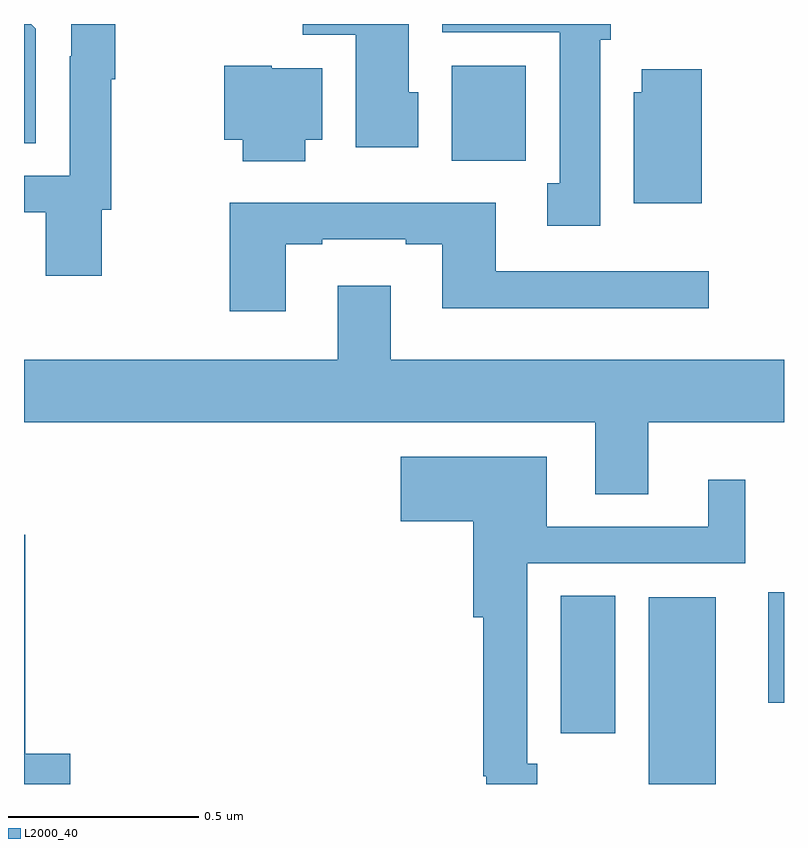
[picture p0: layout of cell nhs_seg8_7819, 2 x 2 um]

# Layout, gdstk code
import gdstk
lib = gdstk.Library(unit=1e-6, precision=1e-09)
def R(c, l, rs):  # rectangles x0, y0, x1, y1
    for r in rs: c.add(gdstk.rectangle(r[:2], r[2:], *l))
def P(c, l, *ps):  # polygons
    for p in ps: c.add(gdstk.Polygon(p, *l))
L2000_40 = (2000, 40)

nhs_seg8_7819 = lib.new_cell('nhs_seg8_7819')
R(nhs_seg8_7819, L2000_40, [(216.644,1096.9,216.82,1097.392), (216.413,1097.034,216.556,1097.396), (216.959,1097.114,217,1097.404), (216.125,1098.54,216.321,1098.79)])
P(nhs_seg8_7819, L2000_40, [(216.517,1098.858),(216.544,1098.858),(216.544,1098.9),(216.101,1098.9),(216.101,1098.878),(216.41,1098.878),(216.41,1098.481),(216.377,1098.481),(216.377,1098.369),(216.517,1098.369)],
  [(215.031,1098.888),(215.019,1098.9),(215,1098.9),(215,1098.586),(215.031,1098.586)],
  [(215.205,1098.411),(215.23,1098.411),(215.23,1098.754),(215.24,1098.754),(215.24,1098.9),(215.124,1098.9),(215.124,1098.815),(215.121,1098.815),(215.121,1098.501),(215,1098.501),(215,1098.404),(215.057,1098.404),(215.057,1098.237),(215.205,1098.237)],
  [(216.037,1098.72),(216.013,1098.72),(216.013,1098.9),(215.734,1098.9),(215.734,1098.872),(215.873,1098.872),(215.873,1098.576),(216.037,1098.576)],
  [(215.74,1098.596),(215.785,1098.596),(215.785,1098.784),(215.652,1098.784),(215.652,1098.79),(215.527,1098.79),(215.527,1098.596),(215.575,1098.596),(215.575,1098.539),(215.74,1098.539)],
  [(216.784,1098.781),(216.626,1098.781),(216.626,1098.72),(216.605,1098.72),(216.605,1098.428),(216.784,1098.428)],
  [(215.689,1098.321),(215.785,1098.321),(215.785,1098.333),(216.005,1098.333),(216.005,1098.321),(216.101,1098.321),(216.101,1098.152),(216.802,1098.152),(216.802,1098.249),(216.241,1098.249),(216.241,1098.43),(215.542,1098.43),(215.542,1098.144),(215.689,1098.144)],
  [(216.643,1097.852),(217,1097.852),(217,1098.016),(215.965,1098.016),(215.965,1098.211),(215.825,1098.211),(215.825,1098.016),(215,1098.016),(215,1097.852),(216.503,1097.852),(216.503,1097.662),(216.643,1097.662)],
  [(216.351,1096.953),(216.324,1096.953),(216.324,1097.481),(216.898,1097.481),(216.898,1097.701),(216.8,1097.701),(216.8,1097.577),(216.376,1097.577),(216.376,1097.761),(215.991,1097.761),(215.991,1097.591),(216.182,1097.591),(216.182,1097.339),(216.208,1097.339),(216.208,1096.921),(216.216,1096.921),(216.216,1096.9),(216.351,1096.9)],
  [(215.122,1096.979),(215.003,1096.979),(215.003,1097.556),(215,1097.556),(215,1096.9),(215.122,1096.9)])

lib.write_gds('nhs_seg8_7819.gds')
